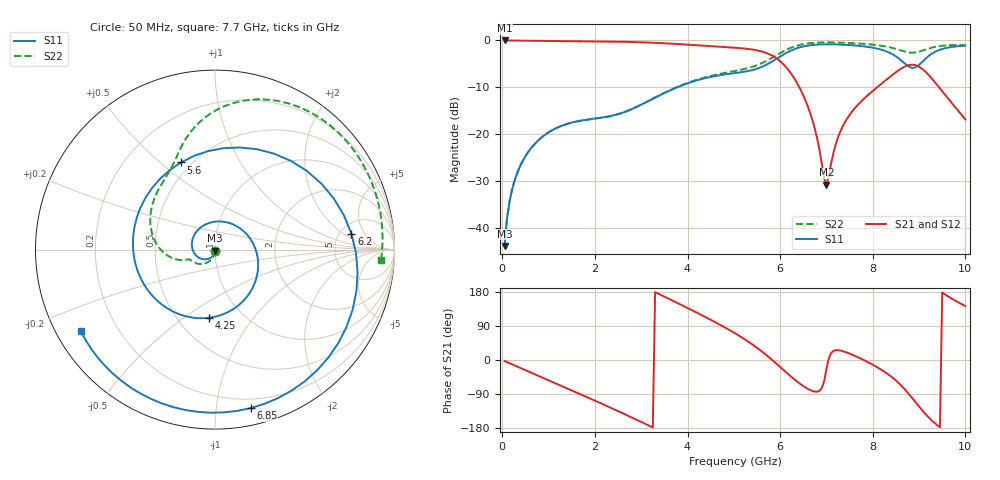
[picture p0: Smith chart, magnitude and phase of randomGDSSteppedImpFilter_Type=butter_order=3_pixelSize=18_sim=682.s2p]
! freq	dB(S11)	phase(S11)	dB(S12)	phase(S12)
!  dB(S21)	phase(S21)	dB(S22)	phase(S22)
!S-par simulation data
#  GHz  S  DB  R 50
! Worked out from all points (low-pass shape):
!   200 points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, 50 MHz to 10 GHz, reference 50 ohm
!   highest |S21| = -0.01 dB at 50 MHz (marker M1); lowest = -30.7 dB at 7 GHz (marker M2)
!   |S21| within 3 dB of the highest: start of sweep to 5.779 GHz
!   lowest |S11| = -43.8 dB at 50 MHz (marker M3), VSWR 1.01, Z = 50.1 - j0.646 ohm
!   |S11| at or under -10 dB: start of sweep to 3.772 GHz
!   |S22| runs from -43.8 to -0.4 dB; largest |S21 - S12| = 0
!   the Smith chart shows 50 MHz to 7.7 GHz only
!   S11 on the Smith chart (normalised r, x): 50 MHz: 1.00, -0.01; 4.25 GHz: 0.70, -0.63; 5.6 GHz: 0.44, +0.59; 6.2 GHz: 6.32, +2.72; 6.85 GHz: 0.13, -1.24; 7.7 GHz: 0.07, -0.28
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0.05  -43.75 -83.5  -0.01 -2.7  -0.01 -2.7  -43.79 -81.8
0.2  -32.24 -101.1  -0.03 -10.7  -0.03 -10.7  -32.19 -96.4
0.5  -24.66 -122.8  -0.05 -26.7  -0.05 -26.7  -24.62 -110.8
1.75  -16.99 143.6  -0.19 -93.6  -0.19 -93.6  -17.01 -152.7
2.7  -15.00 47.2  -0.32 -146.2  -0.32 -146.2  -15.03 -161.1
3.4  -11.68 -22.8  -0.56 173.2  -0.56 173.2  -11.65 -172.0
4.25  -8.37 -95.1  -1.07 121.9  -1.07 121.9  -8.23 158.2
5.05  -6.92 -170.9  -1.58 68.7  -1.58 68.7  -6.46 127.7
5.6  -5.66 111.3  -2.35 23.0  -2.35 23.0  -4.87 111.3
5.9  -4.04 58.3  -3.69 -7.6  -3.69 -7.6  -3.27 100.0
6.2  -2.33 6.7  -6.58 -40.1  -6.58 -40.1  -1.70 83.0
6.7  -0.97 -61.4  -17.07 -81.9  -17.07 -81.9  -0.54 50.4
6.85  -0.87 -77.3  -23.36 -81.3  -23.36 -81.3  -0.46 41.2
7  -0.83 -91.6  -30.70 -23.6  -30.70 -23.6  -0.43 32.5
7.3  -0.89 -117.2  -19.38 25.0  -19.38 25.0  -0.48 16.3
7.7  -1.16 -148.7  -13.48 6.1  -13.48 6.1  -0.66 -3.6
8.35  -2.57 147.6  -7.92 -39.4  -7.92 -39.4  -1.44 -33.2
8.65  -4.56 91.9  -5.79 -71.7  -5.79 -71.7  -2.25 -43.5
8.95  -5.59 -7.0  -5.37 -115.5  -5.37 -115.5  -2.52 -47.3
9.3  -2.68 -96.6  -8.40 -162.4  -8.40 -162.4  -1.48 -58.0
9.6  -1.58 -136.3  -12.05 169.9  -12.05 169.9  -1.05 -72.6
10  -1.12 -169.8  -16.82 142.3  -16.82 142.3  -1.00 -93.7
